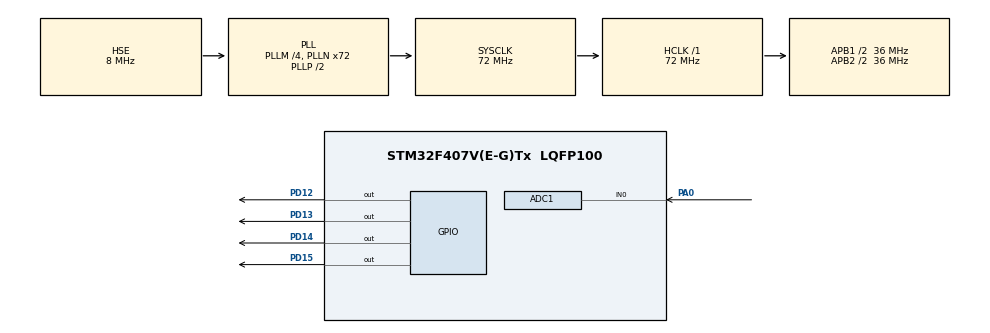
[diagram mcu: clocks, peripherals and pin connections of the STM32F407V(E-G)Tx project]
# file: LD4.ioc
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ADC1.Channel-0\#ChannelRegularConversion=ADC_CHANNEL_0
ADC1.ClockPrescaler=ADC_CLOCK_SYNC_PCLK_DIV2
ADC1.NbrOfConversionFlag=1
ADC1.Rank-0\#ChannelRegularConversion=1
ADC1.SamplingTime-0\#ChannelRegularConversion=ADC_SAMPLETIME_3CYCLES
ADC1.master=1
Mcu.Family=STM32F4
Mcu.Name=STM32F407V(E-G)Tx
Mcu.Package=LQFP100
NVIC.ADC_IRQn=true\:0\:0\:false\:true\:true\:3\:true\:true\:true
NVIC.PriorityGroup=NVIC_PRIORITYGROUP_0
NVIC.TIM2_IRQn=true\:0\:0\:false\:true\:true\:4\:true\:true\:true
NVIC.TIM4_IRQn=true\:0\:0\:false\:true\:true\:2\:true\:true\:true
NVIC.TIM5_IRQn=true\:0\:0\:false\:true\:true\:1\:true\:true\:true
PA0-WKUP.Signal=ADCx_IN0
PA13.Mode=Serial_Wire
PA13.Signal=SYS_JTMS-SWDIO
PA14.Mode=Serial_Wire
PA14.Signal=SYS_JTCK-SWCLK
PD12.Signal=GPIO_Output
PD13.Signal=GPIO_Output
PD14.Signal=GPIO_Output
PD15.Signal=GPIO_Output
PH0-OSC_IN.Mode=HSE-External-Oscillator
PH0-OSC_IN.Signal=RCC_OSC_IN
PH1-OSC_OUT.Mode=HSE-External-Oscillator
PH1-OSC_OUT.Signal=RCC_OSC_OUT
ProjectManager.HeapSize=0x200
ProjectManager.StackSize=0x400
ProjectManager.TargetToolchain=STM32CubeIDE
RCC.48MHZClocksFreq_Value=20571428.57142857
RCC.AHBFreq_Value=72000000
RCC.APB1CLKDivider=RCC_HCLK_DIV2
RCC.APB1Freq_Value=36000000
RCC.APB1TimFreq_Value=72000000
RCC.APB2CLKDivider=RCC_HCLK_DIV2
RCC.APB2Freq_Value=36000000
RCC.APB2TimFreq_Value=72000000
RCC.CortexFreq_Value=72000000
RCC.HCLKFreq_Value=72000000
RCC.HSE_VALUE=8000000
RCC.HSI_VALUE=16000000
RCC.LSE_VALUE=32768
RCC.PLLM=4
RCC.PLLN=72
RCC.PLLQ=7
RCC.PLLSourceVirtual=RCC_PLLSOURCE_HSE
RCC.SYSCLKFreq_VALUE=72000000
RCC.SYSCLKSource=RCC_SYSCLKSOURCE_PLLCLK
RCC.VCOOutputFreq_Value=144000000
SH.ADCx_IN0.0=ADC1_IN0,IN0
TIM2.Period=2000
TIM2.Prescaler=36000-1
TIM4.Period=4000-1
TIM4.Prescaler=35999
TIM5.Channel-Input_Capture1_from_TI1=TIM_CHANNEL_1
TIM5.ICFilter_CH1=15
TIM5.ICPolarity_CH1=TIM_INPUTCHANNELPOLARITY_FALLING
TIM5.Period=12000
TIM5.Prescaler=36999
VP_TIM2_VS_ClockSourceINT.Mode=Internal
VP_TIM4_VS_ClockSourceINT.Mode=Internal
VP_TIM5_VS_ClockSourceINT.Mode=Internal
board=STM32F407G-DISC1

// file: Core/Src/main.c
/* USER CODE BEGIN Header */
/**
  ******************************************************************************
  * @file           : main.c
  * @brief          : Main program body
  ******************************************************************************
  * @attention
  *
  * Copyright (c) 2024 STMicroelectronics.
  * All rights reserved.
  *
  * This software is licensed under terms that can be found in the LICENSE file
  * in the root directory of this software component.
  * If no LICENSE file comes with this software, it is provided AS-IS.
  *
  ******************************************************************************
  */
/* USER CODE END Header */
#include "main.h"

ADC_HandleTypeDef hadc1;

TIM_HandleTypeDef htim2;
TIM_HandleTypeDef htim4;
TIM_HandleTypeDef htim5;

/* USER CODE BEGIN PV */
uint32_t inputCaptureVal = 0;

int16_t x_axis_value, y_axis_value;
/* USER CODE END PV */

void SystemClock_Config(void);
static void MX_GPIO_Init(void);
static void MX_TIM4_Init(void);
static void MX_TIM5_Init(void);
static void MX_ADC1_Init(void);
static void MX_TIM2_Init(void);
static void MX_NVIC_Init(void);

int main(void)
{

  /* MCU Configuration--------------------------------------------------------*/

  /* Reset of all peripherals, Initializes the Flash interface and the Systick. */
  HAL_Init();

  /* Configure the system clock */
  SystemClock_Config();

  /* Initialize all configured peripherals */
  MX_GPIO_Init();
  MX_TIM4_Init();
  MX_TIM5_Init();
  MX_ADC1_Init();
  MX_TIM2_Init();

  /* Initialize interrupts */
  MX_NVIC_Init();
  /* USER CODE BEGIN 2 */
  //pagrindine pirmas
  HAL_TIM_PWM_Start(&htim4, TIM_CHANNEL_3);
  HAL_TIM_PWM_Start(&htim4, TIM_CHANNEL_4);
  HAL_TIM_Base_Start_IT(&htim2);
  //pagrindine antras
//  HAL_TIM_PWM_Start(&htim4, TIM_CHANNEL_1);
//  void HAL_TIM_IC_CaptureCallback();
//  HAL_TIM_IC_Start_IT(&htim5, TIM_CHANNEL_1);
//  HAL_TIM_PWM_Start(&htim5, TIM_CHANNEL_1);
  /* USER CODE END 2 */

  /* Infinite loop */
  while (1)
  {

  }
}

void SystemClock_Config(void)
{
  RCC_OscInitTypeDef RCC_OscInitStruct = {0};
  RCC_ClkInitTypeDef RCC_ClkInitStruct = {0};

  /** Configure the main internal regulator output voltage
  */
  __HAL_RCC_PWR_CLK_ENABLE();
  __HAL_PWR_VOLTAGESCALING_CONFIG(PWR_REGULATOR_VOLTAGE_SCALE1);

  /** Initializes the RCC Oscillators according to the specified parameters
  * in the RCC_OscInitTypeDef structure.
  */
  RCC_OscInitStruct.OscillatorType = RCC_OSCILLATORTYPE_HSE;
  RCC_OscInitStruct.HSEState = RCC_HSE_ON;
  RCC_OscInitStruct.PLL.PLLState = RCC_PLL_ON;
  RCC_OscInitStruct.PLL.PLLSource = RCC_PLLSOURCE_HSE;
  RCC_OscInitStruct.PLL.PLLM = 4;
  RCC_OscInitStruct.PLL.PLLN = 72;
  RCC_OscInitStruct.PLL.PLLP = RCC_PLLP_DIV2;
  RCC_OscInitStruct.PLL.PLLQ = 7;
  if (HAL_RCC_OscConfig(&RCC_OscInitStruct) != HAL_OK)
  {
    Error_Handler();
  }

  /** Initializes the CPU, AHB and APB buses clocks
  */
  RCC_ClkInitStruct.ClockType = RCC_CLOCKTYPE_HCLK|RCC_CLOCKTYPE_SYSCLK
                              |RCC_CLOCKTYPE_PCLK1|RCC_CLOCKTYPE_PCLK2;
  RCC_ClkInitStruct.SYSCLKSource = RCC_SYSCLKSOURCE_PLLCLK;
  RCC_ClkInitStruct.AHBCLKDivider = RCC_SYSCLK_DIV1;
  RCC_ClkInitStruct.APB1CLKDivider = RCC_HCLK_DIV2;
  RCC_ClkInitStruct.APB2CLKDivider = RCC_HCLK_DIV2;

  if (HAL_RCC_ClockConfig(&RCC_ClkInitStruct, FLASH_LATENCY_2) != HAL_OK)
  {
    Error_Handler();
  }
}

/**
  * @brief NVIC Configuration.
  * @retval None
  */
static void MX_NVIC_Init(void)
{
  /* TIM5_IRQn interrupt configuration */
  HAL_NVIC_SetPriority(TIM5_IRQn, 0, 0);
  HAL_NVIC_EnableIRQ(TIM5_IRQn);
  /* TIM4_IRQn interrupt configuration */
  HAL_NVIC_SetPriority(TIM4_IRQn, 0, 0);
  HAL_NVIC_EnableIRQ(TIM4_IRQn);
  /* ADC_IRQn interrupt configuration */
  HAL_NVIC_SetPriority(ADC_IRQn, 0, 0);
  HAL_NVIC_EnableIRQ(ADC_IRQn);
  /* TIM2_IRQn interrupt configuration */
  HAL_NVIC_SetPriority(TIM2_IRQn, 0, 0);
  HAL_NVIC_EnableIRQ(TIM2_IRQn);
}

static void MX_ADC1_Init(void)
{

  ADC_ChannelConfTypeDef sConfig = {0};

  /** Configure the global features of the ADC (Clock, Resolution, Data Alignment and number of conversion)
  */
  hadc1.Instance = ADC1;
  hadc1.Init.ClockPrescaler = ADC_CLOCK_SYNC_PCLK_DIV2;
  hadc1.Init.Resolution = ADC_RESOLUTION_12B;
  hadc1.Init.ScanConvMode = DISABLE;
  hadc1.Init.ContinuousConvMode = DISABLE;
  hadc1.Init.DiscontinuousConvMode = DISABLE;
  hadc1.Init.ExternalTrigConvEdge = ADC_EXTERNALTRIGCONVEDGE_NONE;
  hadc1.Init.ExternalTrigConv = ADC_SOFTWARE_START;
  hadc1.Init.DataAlign = ADC_DATAALIGN_RIGHT;
  hadc1.Init.NbrOfConversion = 1;
  hadc1.Init.DMAContinuousRequests = DISABLE;
  hadc1.Init.EOCSelection = ADC_EOC_SINGLE_CONV;
  if (HAL_ADC_Init(&hadc1) != HAL_OK)
  {
    Error_Handler();
  }

  /** Configure for the selected ADC regular channel its corresponding rank in the sequencer and its sample time.
  */
  sConfig.Channel = ADC_CHANNEL_0;
  sConfig.Rank = 1;
  sConfig.SamplingTime = ADC_SAMPLETIME_3CYCLES;
  if (HAL_ADC_ConfigChannel(&hadc1, &sConfig) != HAL_OK)
  {
    Error_Handler();
  }

}

static void MX_TIM2_Init(void)
{

  TIM_ClockConfigTypeDef sClockSourceConfig = {0};
  TIM_MasterConfigTypeDef sMasterConfig = {0};

  htim2.Instance = TIM2;
  htim2.Init.Prescaler = 36000-1;
  htim2.Init.CounterMode = TIM_COUNTERMODE_UP;
  htim2.Init.Period = 2000;
  htim2.Init.ClockDivision = TIM_CLOCKDIVISION_DIV1;
  htim2.Init.AutoReloadPreload = TIM_AUTORELOAD_PRELOAD_DISABLE;
  if (HAL_TIM_Base_Init(&htim2) != HAL_OK)
  {
    Error_Handler();
  }
  sClockSourceConfig.ClockSource = TIM_CLOCKSOURCE_INTERNAL;
  if (HAL_TIM_ConfigClockSource(&htim2, &sClockSourceConfig) != HAL_OK)
  {
    Error_Handler();
  }
  sMasterConfig.MasterOutputTrigger = TIM_TRGO_RESET;
  sMasterConfig.MasterSlaveMode = TIM_MASTERSLAVEMODE_DISABLE;
  if (HAL_TIMEx_MasterConfigSynchronization(&htim2, &sMasterConfig) != HAL_OK)
  {
    Error_Handler();
  }

}

static void MX_TIM4_Init(void)
{

  TIM_ClockConfigTypeDef sClockSourceConfig = {0};
  TIM_MasterConfigTypeDef sMasterConfig = {0};

  htim4.Instance = TIM4;
  htim4.Init.Prescaler = 35999;
  htim4.Init.CounterMode = TIM_COUNTERMODE_UP;
  htim4.Init.Period = 4000-1;
  htim4.Init.ClockDivision = TIM_CLOCKDIVISION_DIV1;
  htim4.Init.AutoReloadPreload = TIM_AUTORELOAD_PRELOAD_DISABLE;
  if (HAL_TIM_Base_Init(&htim4) != HAL_OK)
  {
    Error_Handler();
  }
  sClockSourceConfig.ClockSource = TIM_CLOCKSOURCE_INTERNAL;
  if (HAL_TIM_ConfigClockSource(&htim4, &sClockSourceConfig) != HAL_OK)
  {
    Error_Handler();
  }
  sMasterConfig.MasterOutputTrigger = TIM_TRGO_RESET;
  sMasterConfig.MasterSlaveMode = TIM_MASTERSLAVEMODE_DISABLE;
  if (HAL_TIMEx_MasterConfigSynchronization(&htim4, &sMasterConfig) != HAL_OK)
  {
    Error_Handler();
  }

}

static void MX_TIM5_Init(void)
{

  TIM_ClockConfigTypeDef sClockSourceConfig = {0};
  TIM_MasterConfigTypeDef sMasterConfig = {0};

  htim5.Instance = TIM5;
  htim5.Init.Prescaler = 36999;
  htim5.Init.CounterMode = TIM_COUNTERMODE_UP;
  htim5.Init.Period = 12000;
  htim5.Init.ClockDivision = TIM_CLOCKDIVISION_DIV1;
  htim5.Init.AutoReloadPreload = TIM_AUTORELOAD_PRELOAD_DISABLE;
  if (HAL_TIM_Base_Init(&htim5) != HAL_OK)
  {
    Error_Handler();
  }
  sClockSourceConfig.ClockSource = TIM_CLOCKSOURCE_INTERNAL;
  if (HAL_TIM_ConfigClockSource(&htim5, &sClockSourceConfig) != HAL_OK)
  {
    Error_Handler();
  }
  sMasterConfig.MasterOutputTrigger = TIM_TRGO_RESET;
  sMasterConfig.MasterSlaveMode = TIM_MASTERSLAVEMODE_DISABLE;
  if (HAL_TIMEx_MasterConfigSynchronization(&htim5, &sMasterConfig) != HAL_OK)
  {
    Error_Handler();
  }

}

static void MX_GPIO_Init(void)
{
  GPIO_InitTypeDef GPIO_InitStruct = {0};

  /* GPIO Ports Clock Enable */
  __HAL_RCC_GPIOH_CLK_ENABLE();
  __HAL_RCC_GPIOA_CLK_ENABLE();
  __HAL_RCC_GPIOD_CLK_ENABLE();

  /*Configure GPIO pin Output Level */
  HAL_GPIO_WritePin(GPIOD, GPIO_PIN_12|GPIO_PIN_13|GPIO_PIN_14|GPIO_PIN_15, GPIO_PIN_RESET);

  /*Configure GPIO pins : PD12 PD13 PD14 PD15 */
  GPIO_InitStruct.Pin = GPIO_PIN_12|GPIO_PIN_13|GPIO_PIN_14|GPIO_PIN_15;
  GPIO_InitStruct.Mode = GPIO_MODE_OUTPUT_PP;
  GPIO_InitStruct.Pull = GPIO_NOPULL;
  GPIO_InitStruct.Speed = GPIO_SPEED_FREQ_LOW;
  HAL_GPIO_Init(GPIOD, &GPIO_InitStruct);

}

/* USER CODE BEGIN 4 */
void HAL_TIM_IC_CaptureCallback(TIM_HandleTypeDef *htim) {
if(htim->Instance == TIM5){
	inputCaptureVal = __HAL_TIM_GET_COUNTER(htim);
	__HAL_TIM_SetCounter(htim,0);
	if(inputCaptureVal < 2000){
		HAL_GPIO_WritePin(GPIOD, GPIO_PIN_15, GPIO_PIN_SET);
		HAL_GPIO_WritePin(GPIOD, GPIO_PIN_14, GPIO_PIN_RESET);
		HAL_GPIO_WritePin(GPIOD, GPIO_PIN_13, GPIO_PIN_RESET);

	}
	if(inputCaptureVal >= 2000&& inputCaptureVal < 12000){
		HAL_GPIO_WritePin(GPIOD, GPIO_PIN_15, GPIO_PIN_SET);
		HAL_GPIO_WritePin(GPIOD, GPIO_PIN_14, GPIO_PIN_SET);
		HAL_GPIO_WritePin(GPIOD, GPIO_PIN_13, GPIO_PIN_RESET);

	}
	if(inputCaptureVal >= 12000){
		HAL_GPIO_WritePin(GPIOD, GPIO_PIN_15, GPIO_PIN_SET);
		HAL_GPIO_WritePin(GPIOD, GPIO_PIN_14, GPIO_PIN_SET);
		HAL_GPIO_WritePin(GPIOD, GPIO_PIN_13, GPIO_PIN_SET);

	}
}
	inputCaptureVal =0;

}
/* USER CODE END 4 */

void Error_Handler(void)
{
  __disable_irq();
  while (1)
  {
  }
}
